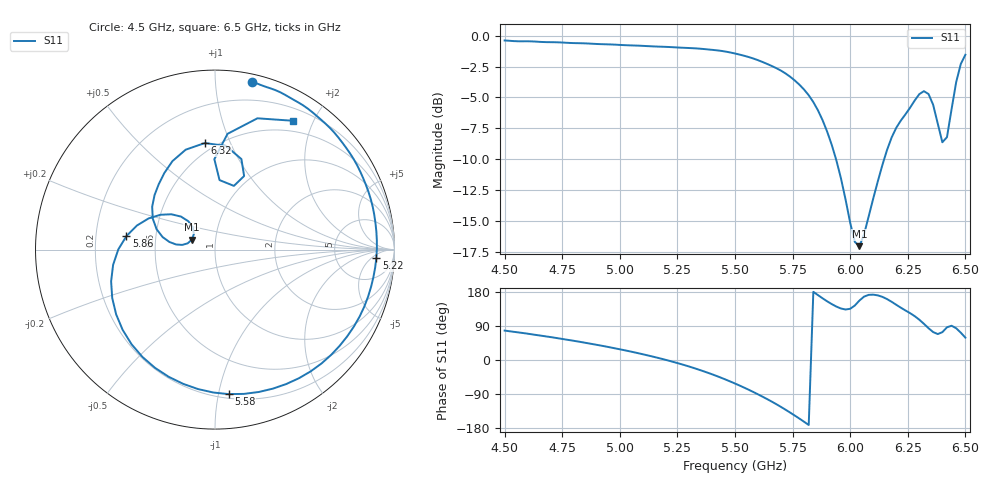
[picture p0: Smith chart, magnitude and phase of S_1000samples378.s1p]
! TOUCHSTONE file generated by CST MICROWAVE STUDIO
! Date and time: Thu Oct 27 23:18:09 2022
! Project name: L.cst
! Parameters = {Di=1.27; Epsilon_r=1.56; InnerDiameter=1.27; Length=2; Lf=10; Lg=60; OuterConductorThickness=0.2921; OuterDiameter=3.6; Wf=3; Wp=41.2; de=1.5; df=6.8; g=0.8; gx=4.45916; gy=0.759751; h=2.34; hf=1.524; px=8.60437; py=11.8798; w=9.7; wx=4.14522; wy=11.12}
! Header version: 2018
! Port assignment regex: !\s*Touchstone port\s*([0-9]+)\s*=\s*(CST MWS port|CST DS port)\s*([0-9]+|Zmin|Zmax)\s*\(\"(.*)\"\)(\s*mode\s*([0-9]+))?.*
! Touchstone port assignment:
! Touchstone port 1 = CST MWS port 1 ("")
# GHz S DB R 50
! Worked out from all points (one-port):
!   101 points, 4.5 GHz to 6.5 GHz, reference 50 ohm
!   lowest |S11| = -17.1 dB at 6.04 GHz (marker M1), VSWR 1.33, Z = 38.4 + j4.32 ohm
!   |S11| at or under -10 dB: 5.938 GHz to 6.148 GHz (209.2 MHz wide, 3.46 % of centre)
!   S11 on the Smith chart (normalised r, x): 4.5 GHz: 0.06, +1.24; 5.22 GHz: 15, -8; 5.58 GHz: 0.23, -1.07; 5.86 GHz: 0.34, +0.07; 6.32 GHz: 0.44, +0.81; 6.5 GHz: 0.36, +1.71
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4.5  -0.38 77.7
4.76  -0.56 54.6
5  -0.74 28.3
5.22  -0.91 -3.0
5.26  -0.96 -9.8
5.38  -1.10 -33.2
5.5  -1.44 -62.1
5.58  -1.84 -84.6
5.66  -2.45 -110.0
5.76  -3.63 -146.8
5.82  -4.82 -171.5
5.86  -6.04 171.3
5.92  -8.85 147.5
6  -15.16 135.1
6.04  -17.06 156.9
6.1  -13.19 172.5
6.14  -10.46 166.6
6.2  -7.46 145.7
6.26  -5.83 123.6
6.32  -4.49 95.4
6.36  -5.59 73.7
6.38  -7.11 68.4
6.4  -8.63 73.5
6.42  -8.22 86.3
6.44  -5.95 90.4
6.46  -3.76 83.8
6.48  -2.28 72.1
6.5  -1.53 58.9
